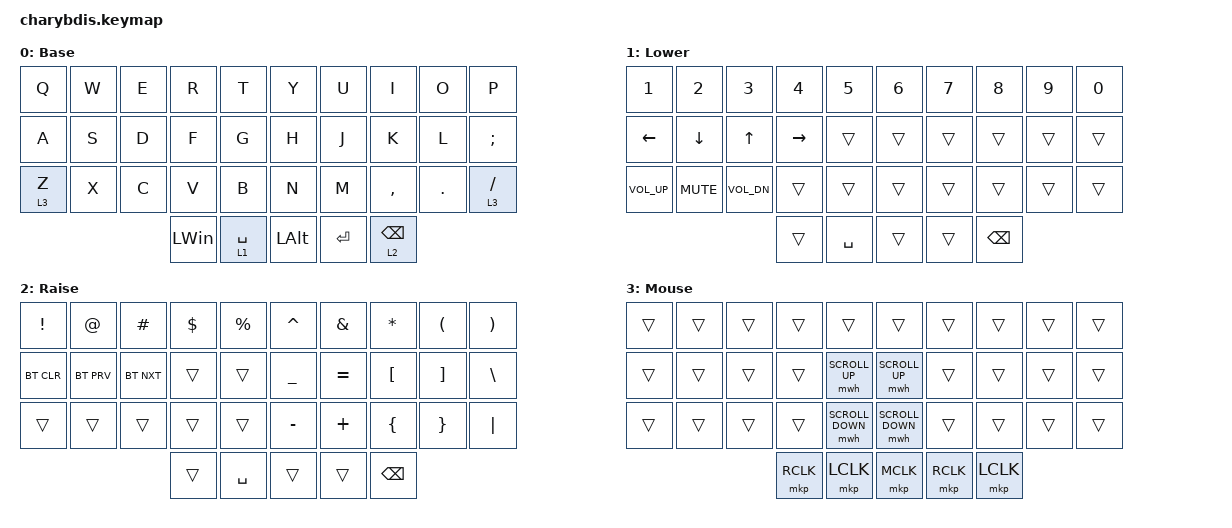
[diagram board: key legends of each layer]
#include <behaviors.dtsi>
#include <dt-bindings/zmk/mouse.h>
#include <dt-bindings/zmk/bt.h>
#include <dt-bindings/zmk/keys.h>

&lt {
    tapping-term-ms = <200>;
    flavor = "balanced";
    quick-tap-ms = <150>;
};

/ {
    keymap {
        compatible = "zmk,keymap";

        Base {
            label = "Base";
            bindings = <
&kp Q    &kp W  &kp E     &kp R        &kp T           &kp Y      &kp U            &kp I      &kp O    &kp P        
&kp A    &kp S  &kp D     &kp F        &kp G           &kp H      &kp J            &kp K      &kp L    &kp SEMI     
&lt 3 Z  &kp X  &kp C     &kp V        &kp B           &kp N      &kp M            &kp COMMA  &kp DOT  &lt 3 SLASH
                                &kp LWIN  &lt 1 SPACE  &kp LEFT_ALT    &kp ENTER  &lt 2 BACKSPACE
            >;

            trackball-bindings = <&tmv_coarse>;
        };

        Lower {
            label = "Lower";
            bindings = <
&kp NUMBER_1     &kp NUMBER_2  &kp NUMBER_3  &kp NUMBER_4     &kp NUMBER_5    &kp NUMBER_6  &kp NUMBER_7   &kp NUMBER_8  &kp NUMBER_9  &kp NUMBER_0  
&kp LEFT         &kp DOWN      &kp UP_ARROW  &kp RIGHT_ARROW  &trans          &trans        &trans         &trans        &trans        &trans        
&kp C_VOLUME_UP  &kp C_MUTE    &kp C_VOL_DN  &trans           &trans          &trans        &trans         &trans        &trans        &trans        
                                             &trans        &kp SPACE        &trans          &trans        &kp BACKSPACE
            >;
        };

        Raise {
            label = "Raise";
            bindings = <
&kp EXCL    &kp AT      &kp HASH    &kp DLLR   &kp PRCNT    &kp CARET  &kp AMPS       &kp ASTERISK  &kp LPAR  &kp RPAR  
&bt BT_CLR  &bt BT_PRV  &bt BT_NXT  &trans     &trans       &kp UNDER  &kp EQUAL      &kp LBKT      &kp RBKT  &kp BSLH  
&trans      &trans      &trans      &trans     &trans       &kp MINUS  &kp PLUS       &kp LBRC      &kp RBRC  &kp PIPE  
                                &trans      &kp SPACE  &trans       &trans     &kp BACKSPACE
            >;
        };

        Mouse {
            bindings = <
&trans  &trans  &trans     &trans     &trans              &trans            &trans     &trans  &trans  &trans 
&trans  &trans  &trans     &trans     &mwh SCROLL_UP      &mwh SCROLL_UP    &trans     &trans  &trans  &trans 
&trans  &trans  &trans     &trans     &mwh SCROLL_DOWN    &mwh SCROLL_DOWN  &trans     &trans  &trans  &trans 
                             &mkp RCLK  &mkp LCLK  &mkp MCLK           &mkp RCLK         &mkp LCLK
            >;
        };
    };
};
